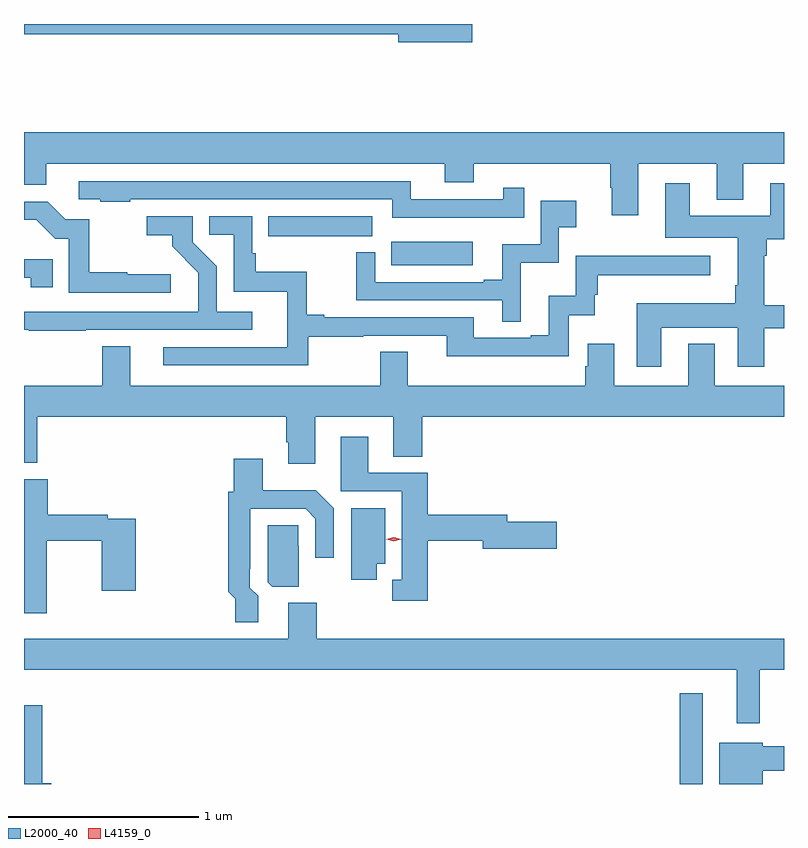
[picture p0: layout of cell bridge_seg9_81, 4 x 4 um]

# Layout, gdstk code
import gdstk
lib = gdstk.Library(unit=1e-6, precision=1e-09)
def R(c, l, rs):  # rectangles x0, y0, x1, y1
    for r in rs: c.add(gdstk.rectangle(r[:2], r[2:], *l))
def P(c, l, *ps):  # polygons
    for p in ps: c.add(gdstk.Polygon(p, *l))
L2000_40 = (2000, 40)
L4159_0 = (4159, 0)

bridge_seg9_81 = lib.new_cell('bridge_seg9_81')
R(bridge_seg9_81, L2000_40, [(894.318,1191.823,894.439,1192.3), (892.801,1194.554,893.23,1194.676), (892.153,1194.707,892.699,1194.811)])
P(bridge_seg9_81, L2000_40, [(893.227,1195.823),(890.867,1195.823),(890.867,1195.768),(892.838,1195.768),(892.838,1195.726),(893.227,1195.726)],
  [(894.1,1195.088),(894.512,1195.088),(894.512,1194.899),(894.652,1194.899),(894.652,1195.088),(894.867,1195.088),(894.867,1195.252),(890.867,1195.252),(890.867,1194.977),(890.983,1194.977),(890.983,1195.088),(893.081,1195.088),(893.081,1194.989),(893.234,1194.989),(893.234,1195.088),(893.953,1195.088),(893.953,1194.96),(893.96,1194.96),(893.96,1194.816),(894.1,1194.816)],
  [(893.501,1194.961),(893.39,1194.961),(893.39,1194.9),(892.903,1194.9),(892.903,1194.996),(891.156,1194.996),(891.156,1194.9),(891.268,1194.9),(891.268,1194.888),(891.425,1194.888),(891.425,1194.9),(892.806,1194.9),(892.806,1194.804),(893.501,1194.804)],
  [(894.22,1194.224),(894.623,1194.224),(894.623,1194.018),(894.763,1194.018),(894.763,1194.222),(894.867,1194.222),(894.867,1194.343),(894.763,1194.343),(894.763,1194.602),(894.776,1194.602),(894.776,1194.691),(894.867,1194.691),(894.867,1194.985),(894.794,1194.985),(894.794,1194.814),(894.37,1194.814),(894.37,1194.985),(894.242,1194.985),(894.242,1194.698),(894.623,1194.698),(894.623,1194.448),(894.611,1194.448),(894.611,1194.352),(894.092,1194.352),(894.092,1194.018),(894.22,1194.018)],
  [(893.482,1194.566),(893.682,1194.566),(893.682,1194.752),(893.773,1194.752),(893.773,1194.892),(893.586,1194.892),(893.586,1194.664),(893.384,1194.664),(893.384,1194.478),(893.288,1194.478),(893.288,1194.465),(892.716,1194.465),(892.716,1194.622),(892.615,1194.622),(892.615,1194.369),(893.384,1194.369),(893.384,1194.256),(893.482,1194.256)],
  [(891.64,1194.506),(891.411,1194.506),(891.411,1194.517),(891.211,1194.517),(891.211,1194.795),(891.084,1194.795),(890.991,1194.888),(890.867,1194.888),(890.867,1194.792),(890.931,1194.792),(891.031,1194.692),(891.102,1194.692),(891.102,1194.408),(891.64,1194.408)],
  [(891.191,1194.213),(892.069,1194.213),(892.069,1194.309),(891.882,1194.309),(891.882,1194.549),(891.756,1194.675),(891.756,1194.811),(891.513,1194.811),(891.513,1194.71),(891.648,1194.71),(891.648,1194.652),(891.785,1194.514),(891.785,1194.309),(890.867,1194.309),(890.867,1194.213),(890.893,1194.213),(890.893,1194.208),(891.191,1194.208)],
  [(892.363,1194.178),(892.652,1194.178),(892.652,1194.183),(893.093,1194.183),(893.093,1194.074),(893.734,1194.074),(893.734,1194.29),(893.871,1194.29),(893.871,1194.399),(893.888,1194.399),(893.888,1194.5),(894.478,1194.5),(894.478,1194.604),(893.772,1194.604),(893.772,1194.394),(893.63,1194.394),(893.63,1194.184),(893.534,1194.184),(893.534,1194.171),(893.233,1194.171),(893.233,1194.279),(892.447,1194.279),(892.447,1194.292),(892.355,1194.292),(892.355,1194.518),(892.088,1194.518),(892.088,1194.617),(892.068,1194.617),(892.068,1194.81),(891.841,1194.81),(891.841,1194.715),(891.972,1194.715),(891.972,1194.415),(892.253,1194.415),(892.253,1194.123),(891.6,1194.123),(891.6,1194.027),(892.363,1194.027)],
  [(891.017,1194.585),(890.867,1194.585),(890.867,1194.488),(890.902,1194.488),(890.902,1194.438),(891.017,1194.438)],
  [(892.399,1193.756),(892.811,1193.756),(892.811,1193.545),(892.964,1193.545),(892.964,1193.756),(894.867,1193.756),(894.867,1193.92),(894.502,1193.92),(894.502,1194.139),(894.362,1194.139),(894.362,1193.92),(893.974,1193.92),(893.974,1194.139),(893.834,1194.139),(893.834,1194.021),(893.822,1194.021),(893.822,1193.92),(892.888,1193.92),(892.888,1194.098),(892.741,1194.098),(892.741,1193.92),(891.427,1193.92),(891.427,1194.128),(891.28,1194.128),(891.28,1193.92),(890.867,1193.92),(890.867,1193.513),(890.936,1193.513),(890.936,1193.756),(892.247,1193.756),(892.247,1193.623),(892.259,1193.623),(892.259,1193.508),(892.399,1193.508)],
  [(892.991,1193.104),(893.282,1193.104),(893.282,1193.062),(893.671,1193.062),(893.671,1193.204),(893.41,1193.204),(893.41,1193.24),(892.991,1193.24),(892.991,1193.46),(892.678,1193.46),(892.678,1193.65),(892.535,1193.65),(892.535,1193.364),(892.856,1193.364),(892.856,1192.898),(892.804,1192.898),(892.804,1192.788),(892.991,1192.788)],
  [(892.099,1192.814),(892.056,1192.857),(892.056,1192.957),(892.059,1192.957),(892.059,1193.271),(892.35,1193.271),(892.401,1193.22),(892.401,1193.013),(892.497,1193.013),(892.497,1193.274),(892.403,1193.368),(892.123,1193.368),(892.123,1193.536),(891.971,1193.536),(891.971,1193.361),(891.943,1193.361),(891.943,1193.018),(891.941,1193.018),(891.941,1192.836),(891.979,1192.797),(891.979,1192.674),(892.099,1192.674)],
  [(890.988,1193.104),(891.277,1193.104),(891.277,1192.839),(891.455,1192.839),(891.455,1193.22),(891.308,1193.22),(891.308,1193.24),(890.993,1193.24),(890.993,1193.428),(890.867,1193.428),(890.867,1192.721),(890.988,1192.721)],
  [(892.723,1192.982),(892.768,1192.982),(892.768,1193.275),(892.589,1193.275),(892.589,1192.898),(892.723,1192.898)],
  [(892.312,1193.075),(892.311,1193.075),(892.311,1193.186),(892.149,1193.186),(892.149,1192.884),(892.173,1192.861),(892.312,1192.861)],
  [(894.739,1192.424),(894.867,1192.424),(894.867,1192.588),(892.407,1192.588),(892.407,1192.776),(892.259,1192.776),(892.259,1192.588),(890.867,1192.588),(890.867,1192.424),(894.617,1192.424),(894.617,1192.143),(894.739,1192.143)],
  [(891.011,1191.826),(890.963,1191.826),(890.963,1192.237),(890.867,1192.237),(890.867,1191.823),(891.011,1191.823)],
  [(894.754,1191.892),(894.867,1191.892),(894.867,1192.021),(894.754,1192.021),(894.754,1192.039),(894.527,1192.039),(894.527,1191.823),(894.754,1191.823)])
P(bridge_seg9_81, L4159_0, [(892.813,1193.101),(892.773,1193.11),(892.773,1193.11),(892.773,1193.11),(892.812,1193.121),(892.852,1193.112),(892.852,1193.112),(892.852,1193.112)])

lib.write_gds('bridge_seg9_81.gds')
